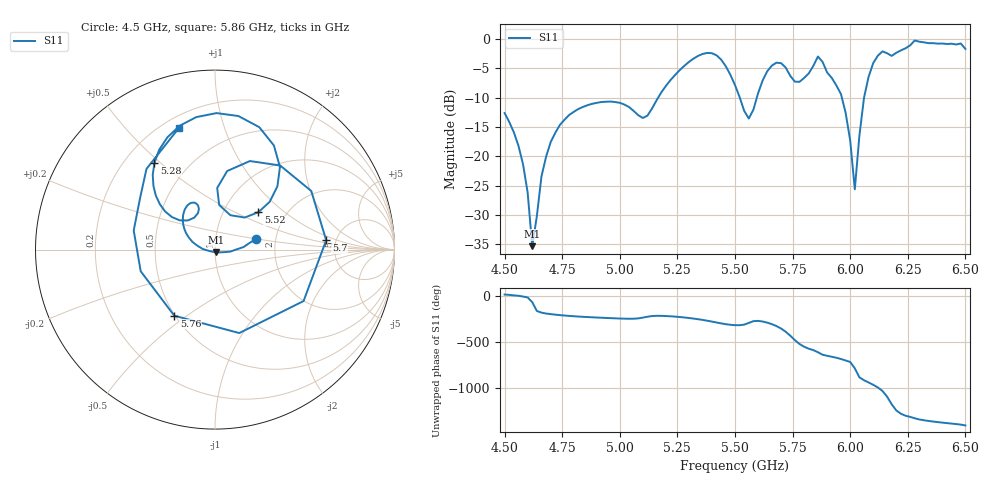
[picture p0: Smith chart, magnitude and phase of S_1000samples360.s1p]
! TOUCHSTONE file generated by CST MICROWAVE STUDIO
! Date and time: Thu Oct 27 21:51:28 2022
! Project name: L.cst
! Parameters = {Di=1.27; Epsilon_r=1.56; InnerDiameter=1.27; Length=2; Lf=10; Lg=60; OuterConductorThickness=0.2921; OuterDiameter=3.6; Wf=3; Wp=41.2; de=1.5; df=6.8; g=0.8; gx=1.48994; gy=0.528064; h=2.34; hf=1.524; px=13.1611; py=13.494; w=9.7; wx=11.6711; wy=12.966}
! Header version: 2018
! Port assignment regex: !\s*Touchstone port\s*([0-9]+)\s*=\s*(CST MWS port|CST DS port)\s*([0-9]+|Zmin|Zmax)\s*\(\"(.*)\"\)(\s*mode\s*([0-9]+))?.*
! Touchstone port assignment:
! Touchstone port 1 = CST MWS port 1 ("")
# GHz S DB R 50
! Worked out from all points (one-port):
!   101 points, 4.5 GHz to 6.5 GHz, reference 50 ohm
!   lowest |S11| = -35.3 dB at 4.62 GHz (marker M1), VSWR 1.03, Z = 50.6 - j1.62 ohm
!   |S11| at or under -10 dB: start of sweep to 5.167 GHz; 5.521 GHz to 5.595 GHz (73.98 MHz wide, 1.33 % of centre); 5.964 GHz to 6.06 GHz (96.28 MHz wide, 1.6 % of centre)
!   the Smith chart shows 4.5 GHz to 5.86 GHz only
!   S11 on the Smith chart (normalised r, x): 4.5 GHz: 1.57, +0.19; 5.28 GHz: 0.32, +0.48; 5.52 GHz: 1.45, +0.68; 5.7 GHz: 4.16, +0.71; 5.76 GHz: 0.50, -0.45; 5.86 GHz: 0.26, +0.72
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4.5  -12.62 14.3
4.58  -21.36 -7.6
4.62  -35.31 -68.7
4.68  -20.08 167.9
4.76  -13.76 146.2
5  -10.88 113.6
5.26  -5.31 129.8
5.28  -4.59 124.9
5.4  -2.43 80.0
5.5  -7.86 41.1
5.52  -9.91 40.8
5.6  -9.28 88.0
5.66  -4.54 52.2
5.7  -4.13 4.8
5.76  -7.28 -121.6
5.86  -3.00 106.4
5.92  -6.64 57.5
6  -17.30 0.9
6.02  -25.62 -68.3
6.08  -6.43 137.8
6.12  -2.85 83.6
6.14  -2.12 45.7
6.16  -2.43 -15.7
6.18  -2.89 -98.9
6.2  -2.36 -166.0
6.26  -1.10 123.9
6.32  -0.58 86.9
6.5  -1.70 30.4
